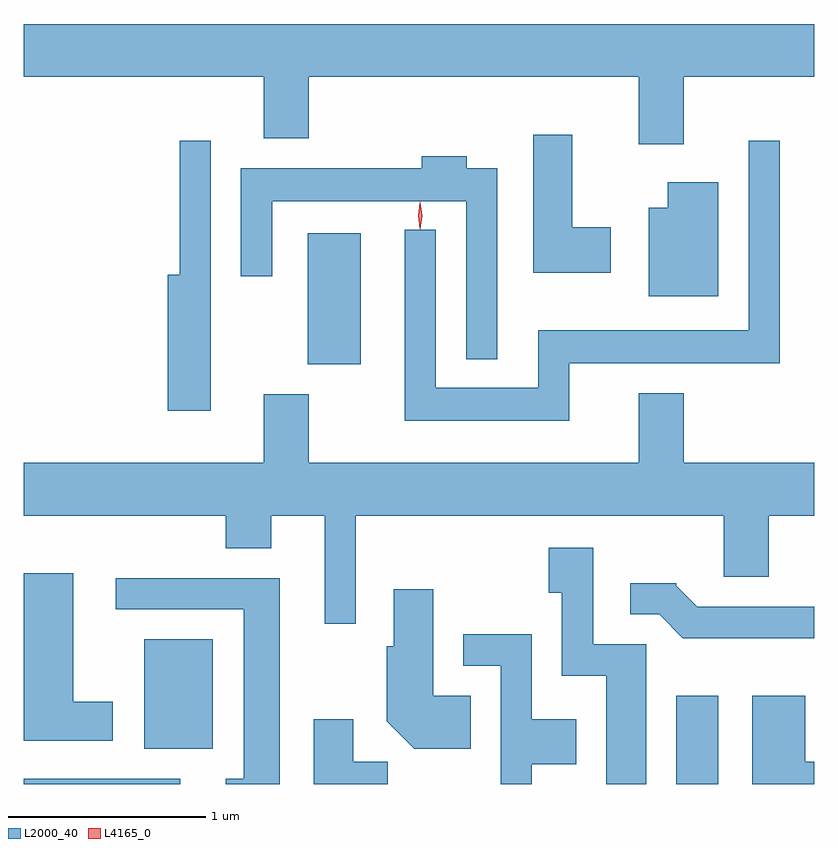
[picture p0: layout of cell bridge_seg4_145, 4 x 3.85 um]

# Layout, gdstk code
import gdstk
lib = gdstk.Library(unit=1e-6, precision=1e-09)
def R(c, l, rs):  # rectangles x0, y0, x1, y1
    for r in rs: c.add(gdstk.rectangle(r[:2], r[2:], *l))
def P(c, l, *ps):  # polygons
    for p in ps: c.add(gdstk.Polygon(p, *l))
L2000_40 = (2000, 40)
L4165_0 = (4165, 0)

bridge_seg4_145 = lib.new_cell('bridge_seg4_145')
R(bridge_seg4_145, L2000_40, [(926.078,1308.917,926.869,1308.944), (929.381,1308.917,929.594,1309.364), (926.686,1309.096,927.034,1309.649), (927.516,1311.041,927.784,1311.704)])
P(bridge_seg4_145, L2000_40, [(929.419,1312.496),(930.078,1312.496),(930.078,1312.764),(926.078,1312.764),(926.078,1312.496),(927.291,1312.496),(927.291,1312.186),(927.519,1312.186),(927.519,1312.496),(929.191,1312.496),(929.191,1312.156),(929.419,1312.156)],
  [(929.049,1311.734),(928.854,1311.734),(928.854,1312.204),(928.656,1312.204),(928.656,1311.506),(929.049,1311.506)],
  [(928.839,1311.046),(929.904,1311.046),(929.904,1312.173),(929.746,1312.173),(929.746,1311.214),(928.681,1311.214),(928.681,1310.924),(928.164,1310.924),(928.164,1311.723),(928.006,1311.723),(928.006,1310.756),(928.839,1310.756)],
  [(927.024,1312.173),(926.866,1312.173),(926.866,1311.494),(926.806,1311.494),(926.806,1310.806),(927.024,1310.806)],
  [(928.474,1312.034),(928.319,1312.034),(928.319,1312.094),(928.091,1312.094),(928.091,1312.034),(927.176,1312.034),(927.176,1311.488),(927.334,1311.488),(927.334,1311.866),(928.316,1311.866),(928.316,1311.068),(928.474,1311.068)],
  [(929.594,1311.964),(929.336,1311.964),(929.336,1311.834),(929.241,1311.834),(929.241,1311.386),(929.594,1311.386)],
  [(927.519,1310.889),(927.291,1310.889),(927.291,1310.544),(926.078,1310.544),(926.078,1310.276),(927.101,1310.276),(927.101,1310.111),(927.329,1310.111),(927.329,1310.276),(927.601,1310.276),(927.601,1309.728),(927.759,1309.728),(927.759,1310.276),(929.621,1310.276),(929.621,1309.966),(929.849,1309.966),(929.849,1310.276),(930.078,1310.276),(930.078,1310.544),(929.419,1310.544),(929.419,1310.894),(929.191,1310.894),(929.191,1310.544),(927.519,1310.544)],
  [(929.229,1309.624),(928.959,1309.624),(928.959,1310.114),(928.736,1310.114),(928.736,1309.886),(928.801,1309.886),(928.801,1309.466),(929.026,1309.466),(929.026,1308.917),(929.229,1308.917)],
  [(926.529,1309.334),(926.329,1309.334),(926.329,1309.984),(926.078,1309.984),(926.078,1309.136),(926.529,1309.136)],
  [(927.374,1309.959),(926.543,1309.959),(926.543,1309.801),(927.191,1309.801),(927.191,1308.944),(927.101,1308.944),(927.101,1308.917),(927.374,1308.917)],
  [(930.078,1309.814),(929.487,1309.814),(929.38,1309.921),(929.38,1309.934),(929.148,1309.934),(929.148,1309.776),(929.294,1309.776),(929.414,1309.656),(930.078,1309.656)],
  [(928.339,1309.364),(928.149,1309.364),(928.149,1309.904),(927.951,1309.904),(927.951,1309.614),(927.916,1309.614),(927.916,1309.234),(928.054,1309.096),(928.339,1309.096)],
  [(928.649,1309.016),(928.874,1309.016),(928.874,1309.244),(928.649,1309.244),(928.649,1309.674),(928.303,1309.674),(928.303,1309.516),(928.491,1309.516),(928.491,1308.917),(928.649,1308.917)],
  [(930.078,1309.029),(930.034,1309.029),(930.034,1309.364),(929.766,1309.364),(929.766,1308.917),(930.078,1308.917)],
  [(927.919,1309.029),(927.744,1309.029),(927.744,1309.244),(927.546,1309.244),(927.546,1308.917),(927.919,1308.917)])
P(bridge_seg4_145, L4165_0, [(928.082,1311.727),(928.073,1311.794),(928.082,1311.86),(928.083,1311.86),(928.083,1311.86),(928.093,1311.794),(928.084,1311.727),(928.083,1311.727)],
  [(928.084,1311.724),(928.084,1311.724),(928.074,1311.793),(928.084,1311.862),(928.084,1311.863),(928.084,1311.862),(928.094,1311.793),(928.084,1311.724)])

lib.write_gds('bridge_seg4_145.gds')
